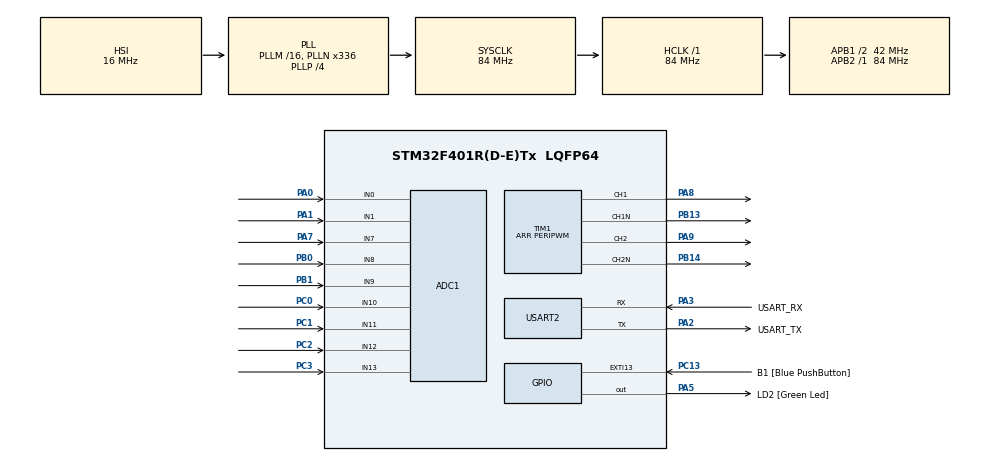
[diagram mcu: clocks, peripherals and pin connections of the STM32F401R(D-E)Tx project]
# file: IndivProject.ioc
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ADC1.Channel-0\#ChannelRegularConversion=ADC_CHANNEL_9
ADC1.DMAContinuousRequests=ENABLE
ADC1.DiscontinuousConvMode=DISABLE
ADC1.EOCSelection=ADC_EOC_SEQ_CONV
ADC1.ExternalTrigConv=ADC_EXTERNALTRIGCONV_T1_CC3
ADC1.ExternalTrigConvEdge=ADC_EXTERNALTRIGCONVEDGE_RISINGFALLING
ADC1.NbrOfConversionFlag=1
ADC1.Rank-0\#ChannelRegularConversion=1
ADC1.SamplingTime-0\#ChannelRegularConversion=ADC_SAMPLETIME_3CYCLES
ADC1.ScanConvMode=ENABLE
ADC1.master=1
Dma.ADC1.0.Direction=DMA_PERIPH_TO_MEMORY
Dma.ADC1.0.FIFOMode=DMA_FIFOMODE_DISABLE
Dma.ADC1.0.Instance=DMA2_Stream0
Dma.ADC1.0.MemDataAlignment=DMA_MDATAALIGN_HALFWORD
Dma.ADC1.0.MemInc=DMA_MINC_ENABLE
Dma.ADC1.0.Mode=DMA_CIRCULAR
Dma.ADC1.0.PeriphDataAlignment=DMA_PDATAALIGN_HALFWORD
Dma.ADC1.0.PeriphInc=DMA_PINC_DISABLE
Dma.ADC1.0.Priority=DMA_PRIORITY_LOW
Dma.Request0=ADC1
Mcu.Family=STM32F4
Mcu.Name=STM32F401R(D-E)Tx
Mcu.Package=LQFP64
Mcu.UserConstants=PERIPWM,2100
NVIC.DMA2_Stream0_IRQn=true\:0\:0\:false\:false\:true\:false\:true\:true
NVIC.PriorityGroup=NVIC_PRIORITYGROUP_4
PA0-WKUP.Signal=ADCx_IN0
PA1.Signal=ADCx_IN1
PA13.GPIO_Label=TMS
PA13.Mode=Trace_Asynchronous_SW
PA13.Signal=SYS_JTMS-SWDIO
PA14.GPIO_Label=TCK
PA14.Mode=Trace_Asynchronous_SW
PA14.Signal=SYS_JTCK-SWCLK
PA2.GPIO_Label=USART_TX
PA2.GPIO_Mode=GPIO_MODE_AF_PP
PA2.GPIO_PuPd=GPIO_NOPULL
PA2.GPIO_Speed=GPIO_SPEED_FREQ_LOW
PA2.Mode=Asynchronous
PA2.Signal=USART2_TX
PA3.GPIO_Label=USART_RX
PA3.GPIO_Mode=GPIO_MODE_AF_PP
PA3.GPIO_PuPd=GPIO_NOPULL
PA3.GPIO_Speed=GPIO_SPEED_FREQ_LOW
PA3.Mode=Asynchronous
PA3.Signal=USART2_RX
PA5.GPIO_Label=LD2 [Green Led]
PA5.GPIO_Mode=GPIO_MODE_OUTPUT_PP
PA5.GPIO_PuPd=GPIO_NOPULL
PA5.GPIO_Speed=GPIO_SPEED_FREQ_LOW
PA5.Signal=GPIO_Output
PA7.Signal=ADCx_IN7
PA8.Signal=S_TIM1_CH1
PA9.Signal=S_TIM1_CH2
PB0.Signal=ADCx_IN8
PB1.Signal=ADCx_IN9
PB13.Mode=PWM Generation1 CH1 CH1N
PB13.Signal=TIM1_CH1N
PB14.Mode=PWM Generation2 CH2 CH2N
PB14.Signal=TIM1_CH2N
PB3.GPIO_Label=SWO
PB3.Mode=Trace_Asynchronous_SW
PB3.Signal=SYS_JTDO-SWO
PC0.Signal=ADCx_IN10
PC1.Signal=ADCx_IN11
PC13-ANTI_TAMP.GPIO_Label=B1 [Blue PushButton]
PC13-ANTI_TAMP.GPIO_ModeDefaultEXTI=GPIO_MODE_IT_FALLING
PC13-ANTI_TAMP.GPIO_PuPd=GPIO_NOPULL
PC13-ANTI_TAMP.Signal=GPXTI13
PC14-OSC32_IN.Mode=LSE-External-Oscillator
PC14-OSC32_IN.Signal=RCC_OSC32_IN
PC15-OSC32_OUT.Mode=LSE-External-Oscillator
PC15-OSC32_OUT.Signal=RCC_OSC32_OUT
PC2.Signal=ADCx_IN12
PC3.Signal=ADCx_IN13
PH0\ -\ OSC_IN.Mode=HSE-External-Clock-Source
PH0\ -\ OSC_IN.Signal=RCC_OSC_IN
PH1\ -\ OSC_OUT.Mode=HSE-External-Clock-Source
PH1\ -\ OSC_OUT.Signal=RCC_OSC_OUT
ProjectManager.HeapSize=0x200
ProjectManager.StackSize=0x400
ProjectManager.TargetToolchain=CMake
RCC.48MHZClocksFreq_Value=48000000
RCC.AHBFreq_Value=84000000
RCC.APB1CLKDivider=RCC_HCLK_DIV2
RCC.APB1Freq_Value=42000000
RCC.APB1TimFreq_Value=84000000
RCC.APB2Freq_Value=84000000
RCC.APB2TimFreq_Value=84000000
RCC.CortexFreq_Value=84000000
RCC.HCLKFreq_Value=84000000
RCC.HSE_VALUE=8000000
RCC.HSI_VALUE=16000000
RCC.PLLN=336
RCC.PLLP=RCC_PLLP_DIV4
RCC.PLLQ=7
RCC.SYSCLKFreq_VALUE=84000000
RCC.SYSCLKSource=RCC_SYSCLKSOURCE_PLLCLK
RCC.VCOOutputFreq_Value=336000000
SH.ADCx_IN0.0=ADC1_IN0,IN0
SH.ADCx_IN1.0=ADC1_IN1,IN1
SH.ADCx_IN10.0=ADC1_IN10,IN10
SH.ADCx_IN11.0=ADC1_IN11,IN11
SH.ADCx_IN12.0=ADC1_IN12,IN12
SH.ADCx_IN13.0=ADC1_IN13,IN13
SH.ADCx_IN7.0=ADC1_IN7,IN7
SH.ADCx_IN8.0=ADC1_IN8,IN8
SH.ADCx_IN9.0=ADC1_IN9,IN9
SH.S_TIM1_CH1.0=TIM1_CH1,PWM Generation1 CH1 CH1N
SH.S_TIM1_CH2.0=TIM1_CH2,PWM Generation2 CH2 CH2N
TIM1.AutomaticOutput=TIM_AUTOMATICOUTPUT_ENABLE
TIM1.Channel-Output\ Compare3\ No\ Output=TIM_CHANNEL_3
TIM1.Channel-PWM\ Generation1\ CH1\ CH1N=TIM_CHANNEL_1
TIM1.Channel-PWM\ Generation2\ CH2\ CH2N=TIM_CHANNEL_2
TIM1.CounterMode=TIM_COUNTERMODE_CENTERALIGNED1
TIM1.DeadTime=42
TIM1.OCMode_3=TIM_OCMODE_TOGGLE
TIM1.Period=PERIPWM
USART2.VirtualMode=VM_ASYNC
VP_TIM1_VS_ClockSourceINT.Mode=Internal
VP_TIM1_VS_no_output3.Mode=Output Compare3 No Output
board=NUCLEO-F401RE

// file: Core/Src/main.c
/* USER CODE BEGIN Header */
/**
  ******************************************************************************
  * @file           : main.c
  * @brief          : Main program body
  ******************************************************************************
  * @attention
  *
  * Copyright (c) 2026 STMicroelectronics.
  * All rights reserved.
  *
  * This software is licensed under terms that can be found in the LICENSE file
  * in the root directory of this software component.
  * If no LICENSE file comes with this software, it is provided AS-IS.
  *
  ******************************************************************************
  */
/* USER CODE END Header */
#include "main.h"

ADC_HandleTypeDef hadc1;
DMA_HandleTypeDef hdma_adc1;

TIM_HandleTypeDef htim1;

UART_HandleTypeDef huart2;

void SystemClock_Config(void);
static void MX_GPIO_Init(void);
static void MX_DMA_Init(void);
static void MX_USART2_UART_Init(void);
static void MX_ADC1_Init(void);
static void MX_TIM1_Init(void);

/* USER CODE BEGIN 0 */
uint16_t resultats[1];
/* USER CODE END 0 */

int main(void)
{

  /* MCU Configuration--------------------------------------------------------*/

  /* Reset of all peripherals, Initializes the Flash interface and the Systick. */
  HAL_Init();

  /* Configure the system clock */
  SystemClock_Config();

  /* Initialize all configured peripherals */
  MX_GPIO_Init();
  MX_DMA_Init();
  MX_USART2_UART_Init();
  MX_ADC1_Init();
  MX_TIM1_Init();
  /* USER CODE BEGIN 2 */
  HAL_TIM_PWM_Start(&htim1, TIM_CHANNEL_1);
  HAL_TIM_PWM_Start(&htim1, TIM_CHANNEL_2);
  HAL_TIM_OC_Start(&htim1, TIM_CHANNEL_3);
  HAL_ADC_Start_DMA(&hadc1, (uint32_t*)resultats, 1);
  HAL_TIMEx_PWMN_Start(&htim1, TIM_CHANNEL_1);
  HAL_TIMEx_PWMN_Start(&htim1, TIM_CHANNEL_2);
  /* USER CODE END 2 */

  /* Infinite loop */
  while (1)
  {

  }
}

void SystemClock_Config(void)
{
  RCC_OscInitTypeDef RCC_OscInitStruct = {0};
  RCC_ClkInitTypeDef RCC_ClkInitStruct = {0};

  /** Configure the main internal regulator output voltage
  */
  __HAL_RCC_PWR_CLK_ENABLE();
  __HAL_PWR_VOLTAGESCALING_CONFIG(PWR_REGULATOR_VOLTAGE_SCALE2);

  /** Initializes the RCC Oscillators according to the specified parameters
  * in the RCC_OscInitTypeDef structure.
  */
  RCC_OscInitStruct.OscillatorType = RCC_OSCILLATORTYPE_HSI;
  RCC_OscInitStruct.HSIState = RCC_HSI_ON;
  RCC_OscInitStruct.HSICalibrationValue = RCC_HSICALIBRATION_DEFAULT;
  RCC_OscInitStruct.PLL.PLLState = RCC_PLL_ON;
  RCC_OscInitStruct.PLL.PLLSource = RCC_PLLSOURCE_HSI;
  RCC_OscInitStruct.PLL.PLLM = 16;
  RCC_OscInitStruct.PLL.PLLN = 336;
  RCC_OscInitStruct.PLL.PLLP = RCC_PLLP_DIV4;
  RCC_OscInitStruct.PLL.PLLQ = 7;
  if (HAL_RCC_OscConfig(&RCC_OscInitStruct) != HAL_OK)
  {
    Error_Handler();
  }

  /** Initializes the CPU, AHB and APB buses clocks
  */
  RCC_ClkInitStruct.ClockType = RCC_CLOCKTYPE_HCLK|RCC_CLOCKTYPE_SYSCLK
                              |RCC_CLOCKTYPE_PCLK1|RCC_CLOCKTYPE_PCLK2;
  RCC_ClkInitStruct.SYSCLKSource = RCC_SYSCLKSOURCE_PLLCLK;
  RCC_ClkInitStruct.AHBCLKDivider = RCC_SYSCLK_DIV1;
  RCC_ClkInitStruct.APB1CLKDivider = RCC_HCLK_DIV2;
  RCC_ClkInitStruct.APB2CLKDivider = RCC_HCLK_DIV1;

  if (HAL_RCC_ClockConfig(&RCC_ClkInitStruct, FLASH_LATENCY_2) != HAL_OK)
  {
    Error_Handler();
  }
}

static void MX_ADC1_Init(void)
{

  ADC_ChannelConfTypeDef sConfig = {0};

  /** Configure the global features of the ADC (Clock, Resolution, Data Alignment and number of conversion)
  */
  hadc1.Instance = ADC1;
  hadc1.Init.ClockPrescaler = ADC_CLOCK_SYNC_PCLK_DIV4;
  hadc1.Init.Resolution = ADC_RESOLUTION_12B;
  hadc1.Init.ScanConvMode = ENABLE;
  hadc1.Init.ContinuousConvMode = DISABLE;
  hadc1.Init.DiscontinuousConvMode = DISABLE;
  hadc1.Init.ExternalTrigConvEdge = ADC_EXTERNALTRIGCONVEDGE_RISINGFALLING;
  hadc1.Init.ExternalTrigConv = ADC_EXTERNALTRIGCONV_T1_CC3;
  hadc1.Init.DataAlign = ADC_DATAALIGN_RIGHT;
  hadc1.Init.NbrOfConversion = 1;
  hadc1.Init.DMAContinuousRequests = ENABLE;
  hadc1.Init.EOCSelection = ADC_EOC_SEQ_CONV;
  if (HAL_ADC_Init(&hadc1) != HAL_OK)
  {
    Error_Handler();
  }

  /** Configure for the selected ADC regular channel its corresponding rank in the sequencer and its sample time.
  */
  sConfig.Channel = ADC_CHANNEL_9;
  sConfig.Rank = 1;
  sConfig.SamplingTime = ADC_SAMPLETIME_3CYCLES;
  if (HAL_ADC_ConfigChannel(&hadc1, &sConfig) != HAL_OK)
  {
    Error_Handler();
  }

}

static void MX_TIM1_Init(void)
{

  TIM_ClockConfigTypeDef sClockSourceConfig = {0};
  TIM_MasterConfigTypeDef sMasterConfig = {0};
  TIM_OC_InitTypeDef sConfigOC = {0};
  TIM_BreakDeadTimeConfigTypeDef sBreakDeadTimeConfig = {0};

  htim1.Instance = TIM1;
  htim1.Init.Prescaler = 0;
  htim1.Init.CounterMode = TIM_COUNTERMODE_CENTERALIGNED1;
  htim1.Init.Period = PERIPWM;
  htim1.Init.ClockDivision = TIM_CLOCKDIVISION_DIV1;
  htim1.Init.RepetitionCounter = 0;
  htim1.Init.AutoReloadPreload = TIM_AUTORELOAD_PRELOAD_DISABLE;
  if (HAL_TIM_Base_Init(&htim1) != HAL_OK)
  {
    Error_Handler();
  }
  sClockSourceConfig.ClockSource = TIM_CLOCKSOURCE_INTERNAL;
  if (HAL_TIM_ConfigClockSource(&htim1, &sClockSourceConfig) != HAL_OK)
  {
    Error_Handler();
  }
  if (HAL_TIM_PWM_Init(&htim1) != HAL_OK)
  {
    Error_Handler();
  }
  if (HAL_TIM_OC_Init(&htim1) != HAL_OK)
  {
    Error_Handler();
  }
  sMasterConfig.MasterOutputTrigger = TIM_TRGO_RESET;
  sMasterConfig.MasterSlaveMode = TIM_MASTERSLAVEMODE_DISABLE;
  if (HAL_TIMEx_MasterConfigSynchronization(&htim1, &sMasterConfig) != HAL_OK)
  {
    Error_Handler();
  }
  sConfigOC.OCMode = TIM_OCMODE_PWM1;
  sConfigOC.Pulse = 0;
  sConfigOC.OCPolarity = TIM_OCPOLARITY_HIGH;
  sConfigOC.OCNPolarity = TIM_OCNPOLARITY_HIGH;
  sConfigOC.OCFastMode = TIM_OCFAST_DISABLE;
  sConfigOC.OCIdleState = TIM_OCIDLESTATE_RESET;
  sConfigOC.OCNIdleState = TIM_OCNIDLESTATE_RESET;
  if (HAL_TIM_PWM_ConfigChannel(&htim1, &sConfigOC, TIM_CHANNEL_1) != HAL_OK)
  {
    Error_Handler();
  }
  if (HAL_TIM_PWM_ConfigChannel(&htim1, &sConfigOC, TIM_CHANNEL_2) != HAL_OK)
  {
    Error_Handler();
  }
  sConfigOC.OCMode = TIM_OCMODE_TOGGLE;
  if (HAL_TIM_OC_ConfigChannel(&htim1, &sConfigOC, TIM_CHANNEL_3) != HAL_OK)
  {
    Error_Handler();
  }
  sBreakDeadTimeConfig.OffStateRunMode = TIM_OSSR_DISABLE;
  sBreakDeadTimeConfig.OffStateIDLEMode = TIM_OSSI_DISABLE;
  sBreakDeadTimeConfig.LockLevel = TIM_LOCKLEVEL_OFF;
  sBreakDeadTimeConfig.DeadTime = 42;
  sBreakDeadTimeConfig.BreakState = TIM_BREAK_DISABLE;
  sBreakDeadTimeConfig.BreakPolarity = TIM_BREAKPOLARITY_HIGH;
  sBreakDeadTimeConfig.AutomaticOutput = TIM_AUTOMATICOUTPUT_ENABLE;
  if (HAL_TIMEx_ConfigBreakDeadTime(&htim1, &sBreakDeadTimeConfig) != HAL_OK)
  {
    Error_Handler();
  }
  HAL_TIM_MspPostInit(&htim1);

}

static void MX_USART2_UART_Init(void)
{

  huart2.Instance = USART2;
  huart2.Init.BaudRate = 115200;
  huart2.Init.WordLength = UART_WORDLENGTH_8B;
  huart2.Init.StopBits = UART_STOPBITS_1;
  huart2.Init.Parity = UART_PARITY_NONE;
  huart2.Init.Mode = UART_MODE_TX_RX;
  huart2.Init.HwFlowCtl = UART_HWCONTROL_NONE;
  huart2.Init.OverSampling = UART_OVERSAMPLING_16;
  if (HAL_UART_Init(&huart2) != HAL_OK)
  {
    Error_Handler();
  }

}

static void MX_DMA_Init(void)
{

  /* DMA controller clock enable */
  __HAL_RCC_DMA2_CLK_ENABLE();

  /* DMA interrupt init */
  /* DMA2_Stream0_IRQn interrupt configuration */
  HAL_NVIC_SetPriority(DMA2_Stream0_IRQn, 0, 0);
  HAL_NVIC_EnableIRQ(DMA2_Stream0_IRQn);

}

static void MX_GPIO_Init(void)
{
  GPIO_InitTypeDef GPIO_InitStruct = {0};

  /* GPIO Ports Clock Enable */
  __HAL_RCC_GPIOC_CLK_ENABLE();
  __HAL_RCC_GPIOH_CLK_ENABLE();
  __HAL_RCC_GPIOA_CLK_ENABLE();
  __HAL_RCC_GPIOB_CLK_ENABLE();

  /*Configure GPIO pin Output Level */
  HAL_GPIO_WritePin(LD2_GPIO_Port, LD2_Pin, GPIO_PIN_RESET);

  /*Configure GPIO pin : B1_Pin */
  GPIO_InitStruct.Pin = B1_Pin;
  GPIO_InitStruct.Mode = GPIO_MODE_IT_FALLING;
  GPIO_InitStruct.Pull = GPIO_NOPULL;
  HAL_GPIO_Init(B1_GPIO_Port, &GPIO_InitStruct);

  /*Configure GPIO pin : LD2_Pin */
  GPIO_InitStruct.Pin = LD2_Pin;
  GPIO_InitStruct.Mode = GPIO_MODE_OUTPUT_PP;
  GPIO_InitStruct.Pull = GPIO_NOPULL;
  GPIO_InitStruct.Speed = GPIO_SPEED_FREQ_LOW;
  HAL_GPIO_Init(LD2_GPIO_Port, &GPIO_InitStruct);

}

/* USER CODE BEGIN 4 */
void HAL_ADC_ConvCpltCallback(ADC_HandleTypeDef* AdcHandle)
{
  static int counter = 0;
  counter++;
  if (counter >= 20000) {
    HAL_GPIO_TogglePin(LD2_GPIO_Port, LD2_Pin);
    counter = 0;
  }
  uint16_t taux;
  uint32_t tmpccer = TIM1->CCER;
  tmpccer &= 0xFFAA;

  if (resultats[0] <= 2048) {
    taux = (uint32_t) (2048 - resultats[0]) * PERIPWM >> 11;
    tmpccer |= TIM_CCER_CC1NE|TIM_CCER_CC2E;

    TIM1->CCER = tmpccer; // Update capture/compare enable register
    TIM1->CCR1 = PERIPWM;
    TIM1->CCR2 = taux;
  } else {
    taux = (uint32_t) (resultats[0] - 2048) * PERIPWM >> 11;
    tmpccer |= TIM_CCER_CC1E|TIM_CCER_CC2NE;

    TIM1->CCER = tmpccer; // Update capture/compare enable register
    TIM1->CCR1 = taux;
    TIM1->CCR2 = PERIPWM;
  }

  // TIM1->CCR1 = taux; // Update PWM duty cycle based on ADC value
  // TIM1->CCR2 = taux; //taux;
  // TIM1->CCR2 = PERIPWM - taux;
}
/* USER CODE END 4 */

void Error_Handler(void)
{
  __disable_irq();
  while (1)
  {
  }
}
